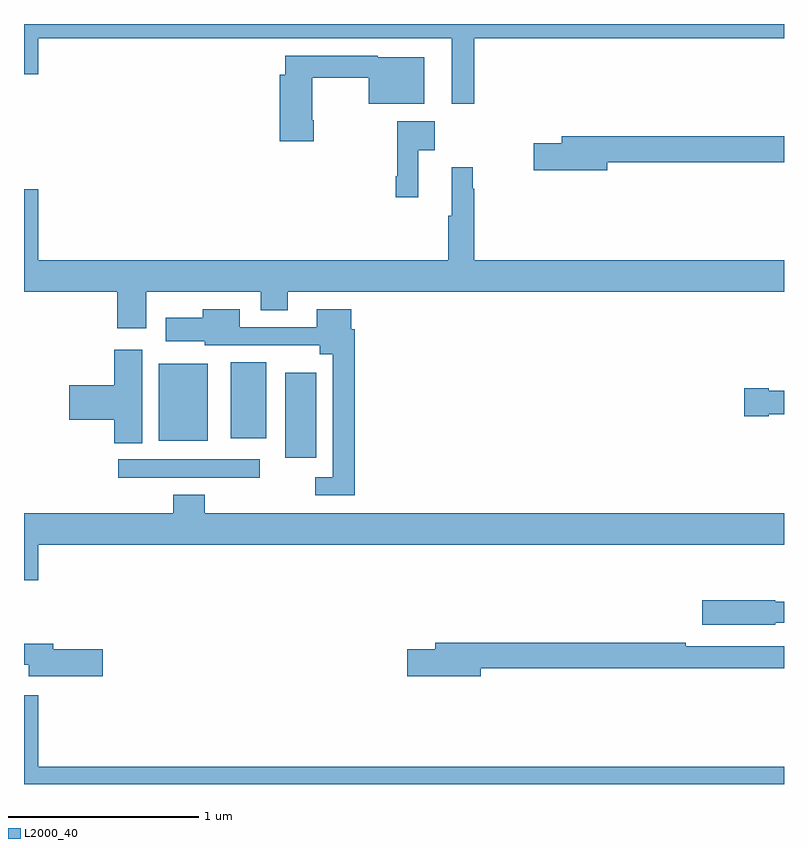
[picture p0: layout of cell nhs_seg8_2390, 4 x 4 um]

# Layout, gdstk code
import gdstk
lib = gdstk.Library(unit=1e-6, precision=1e-09)
def R(c, l, rs):  # rectangles x0, y0, x1, y1
    for r in rs: c.add(gdstk.rectangle(r[:2], r[2:], *l))
def P(c, l, *ps):  # polygons
    for p in ps: c.add(gdstk.Polygon(p, *l))
L2000_40 = (2000, 40)

nhs_seg8_2390 = lib.new_cell('nhs_seg8_2390')
R(nhs_seg8_2390, L2000_40, [(261.495,1123.512,262.24,1123.608), (262.376,1123.617,262.537,1124.065), (261.71,1123.706,261.967,1124.113), (262.088,1123.721,262.276,1124.119)])
P(nhs_seg8_2390, L2000_40, [(263.369,1125.824),(265,1125.824),(265,1125.9),(261,1125.9),(261,1125.636),(261.076,1125.636),(261.076,1125.824),(263.252,1125.824),(263.252,1125.48),(263.369,1125.48)],
  [(262.524,1125.394),(262.516,1125.394),(262.516,1125.616),(262.814,1125.616),(262.814,1125.479),(263.107,1125.479),(263.107,1125.724),(262.863,1125.724),(262.863,1125.732),(262.376,1125.732),(262.376,1125.634),(262.346,1125.634),(262.346,1125.282),(262.524,1125.282)],
  [(263.075,1125.236),(263.161,1125.236),(263.161,1125.388),(262.965,1125.388),(262.965,1125.1),(262.957,1125.1),(262.957,1124.988),(263.075,1124.988)],
  [(264.07,1125.172),(265,1125.172),(265,1125.308),(263.831,1125.308),(263.831,1125.272),(263.682,1125.272),(263.682,1125.13),(264.07,1125.13)],
  [(261.643,1124.492),(262.247,1124.492),(262.247,1124.393),(262.387,1124.393),(262.387,1124.492),(265,1124.492),(265,1124.656),(263.369,1124.656),(263.369,1125.032),(263.362,1125.032),(263.362,1125.145),(263.252,1125.145),(263.252,1124.892),(263.233,1124.892),(263.233,1124.656),(261.076,1124.656),(261.076,1125.031),(261,1125.031),(261,1124.492),(261.491,1124.492),(261.491,1124.298),(261.643,1124.298)],
  [(262.742,1124.294),(262.723,1124.294),(262.723,1124.398),(262.541,1124.398),(262.541,1124.304),(262.135,1124.304),(262.135,1124.398),(261.94,1124.398),(261.94,1124.353),(261.747,1124.353),(261.747,1124.231),(261.951,1124.231),(261.951,1124.208),(262.556,1124.208),(262.556,1124.162),(262.626,1124.162),(262.626,1123.515),(262.533,1123.515),(262.533,1123.419),(262.742,1123.419)],
  [(261.622,1124.185),(261.476,1124.185),(261.476,1124),(261.237,1124),(261.237,1123.817),(261.476,1123.817),(261.476,1123.693),(261.622,1123.693)],
  [(264.921,1123.847),(265,1123.847),(265,1123.969),(264.921,1123.969),(264.921,1123.982),(264.792,1123.982),(264.792,1123.835),(264.921,1123.835)],
  [(261.076,1123.16),(265,1123.16),(265,1123.324),(261.95,1123.324),(261.95,1123.423),(261.785,1123.423),(261.785,1123.324),(261,1123.324),(261,1122.972),(261.076,1122.972)],
  [(264.954,1122.75),(265,1122.75),(265,1122.859),(264.954,1122.859),(264.954,1122.867),(264.57,1122.867),(264.57,1122.737),(264.954,1122.737)],
  [(263.404,1122.508),(265,1122.508),(265,1122.624),(264.482,1122.624),(264.482,1122.644),(263.165,1122.644),(263.165,1122.608),(263.016,1122.608),(263.016,1122.466),(263.404,1122.466)],
  [(261.415,1122.608),(261.154,1122.608),(261.154,1122.637),(261,1122.637),(261,1122.527),(261.026,1122.527),(261.026,1122.466),(261.415,1122.466)],
  [(265,1121.992),(261.076,1121.992),(261.076,1122.367),(261,1122.367),(261,1121.9),(265,1121.9)])

lib.write_gds('nhs_seg8_2390.gds')
